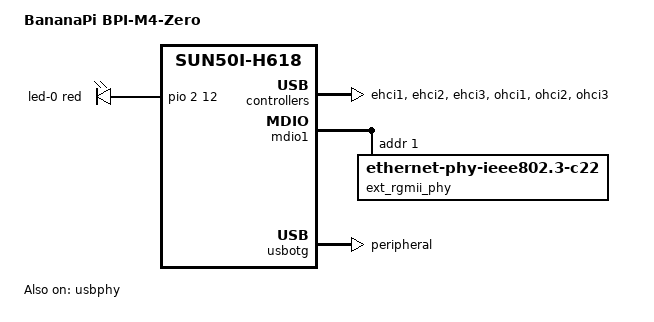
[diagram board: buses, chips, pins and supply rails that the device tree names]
// SPDX-License-Identifier: (GPL-2.0+ OR MIT)
/*
 * Copyright (c) 2024 Patrick Yavitz <pyavitz@armbian.com>
 */

/dts-v1/;

#include "sun50i-h618-bananapi-m4.dtsi"

/ {
	model = "BananaPi BPI-M4-Zero";
	compatible = "sinovoip,bpi-m4-zero", "allwinner,sun50i-h618";

	aliases {
		ethernet0 = &emac1;
		i2c0 = &i2c0;
		i2c1 = &i2c1;
		i2c3 = &i2c3;
		i2c4 = &i2c4;
		serial4 = &uart4;
		serial5 = &uart5;
		spi1 = &spi1;
	};

	leds {
		compatible = "gpio-leds";

		led-0 {
			color = <LED_COLOR_ID_RED>;
			function = LED_FUNCTION_STATUS;
			gpios = <&pio 2 12 GPIO_ACTIVE_HIGH>;	/* PC12 */
			linux,default-trigger = "heartbeat";
		};
	};
};

/* Connected to an on-board RTL8821CU USB WiFi chip. */
&ehci1 {
	status = "okay";
};

&ehci2 {
	status = "okay";
};

&ehci3 {
	status = "okay";
};

&emac1 {
	status = "disabled";
	pinctrl-0 = <&ext_rgmii_pins>;
	pinctrl-names = "default";
	phy-mode = "rgmii";
	phy-handle = <&ext_rgmii_phy>;
	phy-supply = <&reg_dldo1>;
	allwinner,rx-delay-ps = <3100>;
	allwinner,tx-delay-ps = <700>;
};

&mdio1 {
	ext_rgmii_phy: ethernet-phy@1 {
		compatible = "ethernet-phy-ieee802.3-c22";
		reg = <1>;
	};
};

/* SDIO */
&mmc1 {
	status = "disabled";
	bus-width = <4>;
	max-frequency = <100000000>;

	non-removable;
	disable-wp;

	/* WiFi firmware requires power to be kept while in suspend */
	keep-power-in-suspend;

	mmc-pwrseq = <&wifi_pwrseq>;

	cd-gpios = <&pio 6 15 GPIO_ACTIVE_HIGH>; /* PG15 */
	vmmc-supply = <&reg_vcc3v3>;

	sdio: wifi@1 {
		reg = <1>;
		compatible = "brcm,bcm4329-fmac";
	};
};

&ohci1 {
	status = "okay";
};

&ohci2 {
	status = "okay";
};

&ohci3 {
	status = "okay";
};

&usbotg {
	status = "okay";
	dr_mode = "peripheral";
};

&usbphy {
	status = "okay";
};
